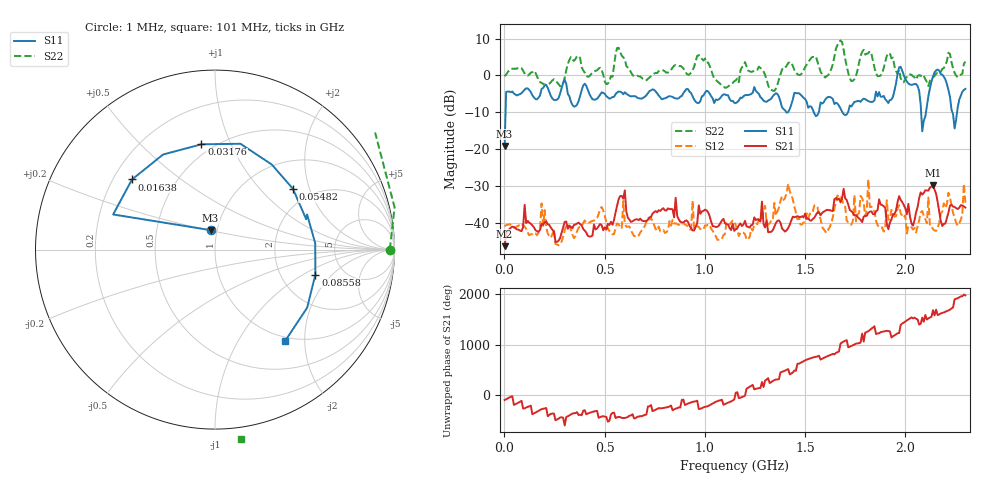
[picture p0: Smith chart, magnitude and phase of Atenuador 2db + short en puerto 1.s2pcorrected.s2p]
# Hz S DB R 50.000000
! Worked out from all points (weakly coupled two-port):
!   300 points, 1 MHz to 2.3 GHz, reference 50 ohm
!   highest |S21| = -29.80 dB at 2.139 GHz (marker M1); lowest = -46.3 dB at 1 MHz (marker M2)
!   lowest |S11| = -19.1 dB at 1 MHz (marker M3), VSWR 1.25, Z = 46.5 + j10.2 ohm
!   |S11| at or under -10 dB: 1.544 GHz to 1.568 GHz (24.35 MHz wide, 1.56 % of centre); 1.687 GHz to 1.714 GHz (26.8 MHz wide, 1.58 % of centre); 2.079 GHz to 2.103 GHz (24.05 MHz wide, 1.15 % of centre) (the widest 3 of 6)
!   |S22| runs from -4.2 to 9.5 dB; largest |S21 - S12| = 0.049
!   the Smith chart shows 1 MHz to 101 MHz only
!   S11 on the Smith chart (normalised r, x): 1 MHz: 0.93, +0.20; 16.38 MHz: 0.28, +0.34; 31.76 MHz: 0.43, +0.78; 54.82 MHz: 1.60, +1.56; 85.58 MHz: 3.12, -1.31; 101 MHz: 0.94, -1.62
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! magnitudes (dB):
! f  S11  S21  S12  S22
! 1 MHz  -19.1  -46.3  -40.9  -0.2
! 16.38 MHz  -4.4  -42.3  -40.4  0.9
! 31.76 MHz  -4.6  -41.3  -40.5  1.8
! 54.82 MHz  -5.2  -41.4  -41.2  1.8
! 85.58 MHz  -4.8  -42.2  -40.2  1.9
! 101 MHz  -3.9  -35.1  -40.9  0.5
! 385.4 MHz  -4.0  -40.6  -40.8  2.3
! 769.9 MHz  -5.4  -36.5  -41.0  1.2
! 1.154 GHz  -7.5  -41.7  -40.6  -1.3
! 1.416 GHz  -9.9  -41.4  -29.4  3.3
! 1.539 GHz  -9.3  -38.9  -36.8  5.0
! 1.677 GHz  -9.0  -34.4  -33.0  9.5
! 1.731 GHz  -8.4  -36.8  -40.4  -1.5
! 1.816 GHz  -6.9  -37.2  -28.2  6.0
! 1.923 GHz  -6.7  -39.9  -38.9  6.0
! 1.977 GHz  2.3  -33.7  -37.4  -0.8
! 2.062 GHz  -2.9  -35.7  -40.9  -0.1
! 2.085 GHz  -15.1  -32.3  -36.7  0.3
! 2.139 GHz  -0.2  -29.8  -41.6  -0.5
! 2.185 GHz  0.2  -40.8  -36.9  1.8
! 2.246 GHz  -14.4  -35.7  -38.5  0.7
! 2.3 GHz  -3.7  -35.8  -34.6  3.7
